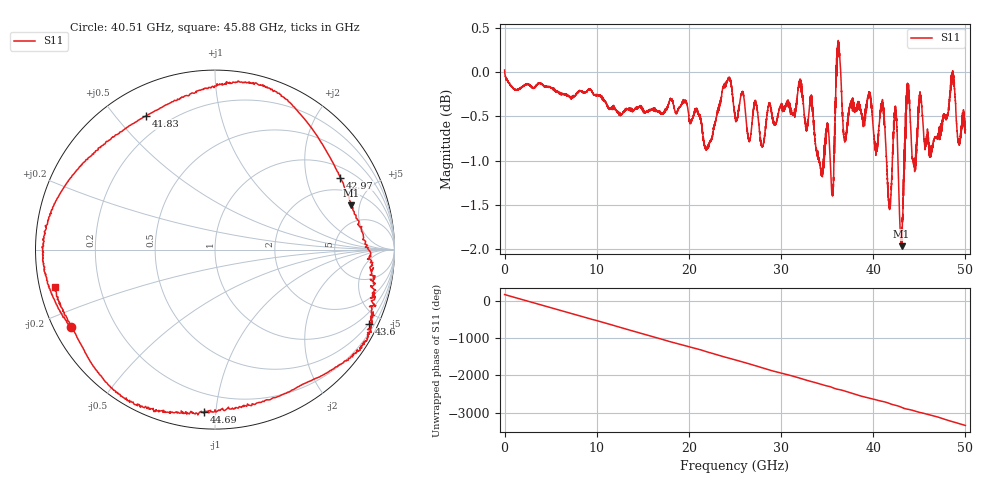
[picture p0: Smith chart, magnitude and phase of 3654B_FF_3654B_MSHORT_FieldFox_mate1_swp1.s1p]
!Created with skrf (http://scikit-rf.org).
# Hz S RI R 50.0
!freq ReS11 ImS11
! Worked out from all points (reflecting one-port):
!   10000 points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, 5.3 MHz to 50 GHz, reference 50 ohm
!   lowest |S11| = -2.0 dB at 43.08 GHz (marker M1), VSWR 8.86, Z = 153 + j207 ohm
!   phase of S11 starts at 180 deg and turns -3528 deg over the sweep
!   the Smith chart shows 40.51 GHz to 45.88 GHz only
!   S11 on the Smith chart (normalised r, x): 40.51 GHz: 0.05, -0.25; 41.83 GHz: 0.12, +0.60; 42.97 GHz: 1.39, +3.19; 43.6 GHz: 0.45, -4.32; 44.69 GHz: 0.09, -0.93; 45.88 GHz: 0.05, -0.11
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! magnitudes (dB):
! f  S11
! 5.3 MHz  0.0
! 6.255 GHz  -0.2
! 12.51 GHz  -0.5
! 18.76 GHz  -0.4
! 21.92 GHz  -0.9
! 24.2 GHz  -0.1
! 25.01 GHz  -0.5
! 31.26 GHz  -0.5
! 32.11 GHz  -0.1
! 35.06 GHz  -0.6
! 35.53 GHz  -1.4
! 36.2 GHz  0.3
! 36.9 GHz  -0.8
! 37.51 GHz  -0.4
! 40.51 GHz  -0.8
! 41.04 GHz  -0.4
! 41.83 GHz  -1.5
! 42.42 GHz  -0.4
! 42.97 GHz  -1.9
! 43.08 GHz  -2.0
! 43.6 GHz  -0.4
! 43.76 GHz  -0.2
! 44.69 GHz  -0.9
! 45.12 GHz  -0.3
! 45.88 GHz  -0.8
! 48.6 GHz  0.0
! 49.26 GHz  -0.8
! 50 GHz  -0.6
